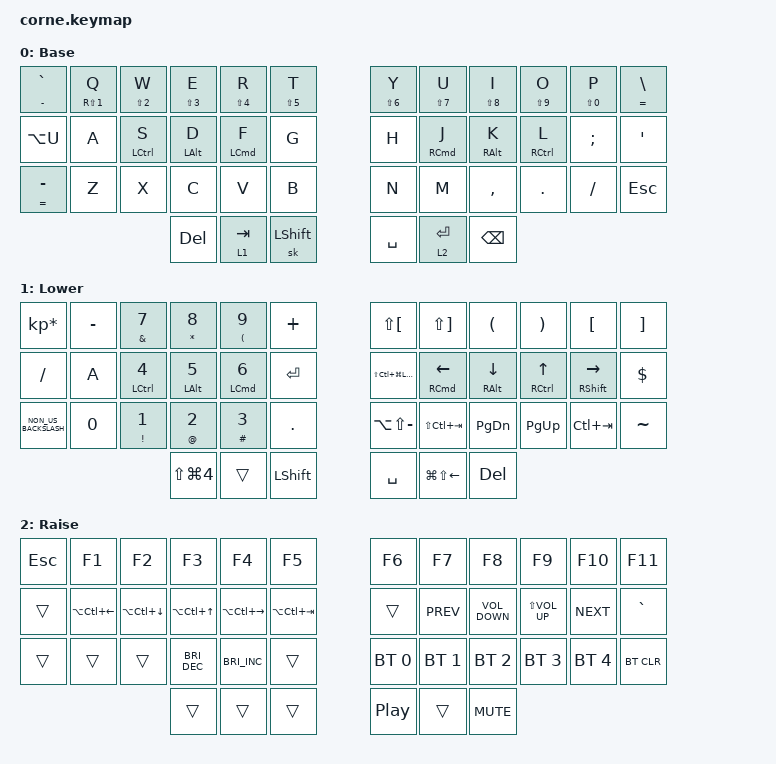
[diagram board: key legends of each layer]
/*
 * Copyright (c) 2020 The ZMK Contributors
 *
 * SPDX-License-Identifier: MIT
 */

#include <behaviors.dtsi>
#include <dt-bindings/zmk/bt.h>
#include <dt-bindings/zmk/keys.h>

/ {
    behaviors {
        HMR: HMR {
            compatible = "zmk,behavior-hold-tap";
            label = "HMR";
            bindings = <&kp>, <&kp>;

            #binding-cells = <2>;
            tapping-term-ms = <200>;
            flavor = "tap-preferred";
        };

        HML: HML {
            compatible = "zmk,behavior-hold-tap";
            label = "HML";
            bindings = <&kp>, <&kp>;

            #binding-cells = <2>;
            tapping-term-ms = <200>;
            flavor = "tap-preferred";
        };

        numRow: numRow {
            compatible = "zmk,behavior-hold-tap";
            label = "NUMROW";
            bindings = <&kp>, <&kp>;

            #binding-cells = <2>;
            tapping-term-ms = <320>;
            flavor = "tap-preferred";
            hold-trigger-on-release;
            hold-trigger-key-positions = <36 37 38 6 7 8 9 10 11 18 19 20 21 22 23 30 31 32 33 34 35 39 40 41 0 1 2 3 4 5 12 13 14 15 16 17 24 25 26 27 28 29>;
        };

        HR_Shift: HR_Shift {
            compatible = "zmk,behavior-hold-tap";
            label = "HR_SHIFT";
            bindings = <&kp>, <&kp>;

            #binding-cells = <2>;
            tapping-term-ms = <200>;
            flavor = "hold-preferred";
            hold-trigger-key-positions = <36 37 38 6 7 8 9 10 11 18 19 20 21 22 23 30 31 32 33 34 35 39 40 41 0 1 2 3 4 5 12 13 14 15 16 17 24 25 26 27 28 29>;
        };
    };

    keymap {
        compatible = "zmk,keymap";

        default_layer {
            // -----------------------------------------------------------------------------------------
            // |  TAB |  Q  |  W  |  E  |  R  |  T  |   |  Y  |  U   |  I  |  O  |  P  | BKSP |
            // | CTRL |  A  |  S  |  D  |  F  |  G  |   |  H  |  J   |  K  |  L  |  ;  |  '   |
            // | SHFT |  Z  |  X  |  C  |  V  |  B  |   |  N  |  M   |  ,  |  .  |  /  | ESC  |
            //                    | GUI | LWR | SPC |   | ENT | RSE  | ALT |

            display-name = "Base";
            bindings = <
&numRow MINUS GRAVE  &numRow RS(NUMBER_1) Q  &numRow LS(NUMBER_2) W  &numRow LS(NUMBER_3) E  &numRow LS(NUMBER_4) R  &numRow LS(N5) T    &numRow LS(NUMBER_6) Y  &numRow LS(N7) U      &numRow LS(N8) I  &numRow LS(N9) O      &numRow LS(N0) P  &numRow EQUAL BACKSLASH
&kp LA(U)            &kp A                   &HML LEFT_CONTROL S     &HML LEFT_ALT D         &HML LEFT_COMMAND F     &kp G               &kp H                   &HMR RIGHT_COMMAND J  &HMR RIGHT_ALT K  &HMR RIGHT_CONTROL L  &kp SEMICOLON     &kp SQT
&HML EQUAL MINUS     &kp Z                   &kp X                   &kp C                   &kp V                   &kp B               &kp N                   &kp M                 &kp COMMA         &kp DOT               &kp FSLH          &kp ESCAPE
                                                                     &kp DEL                 &lt 1 TAB               &sk LEFT_SHIFT      &kp SPACE               &lt 2 RETURN          &kp BACKSPACE
            >;
        };

        lower_layer {
            // -----------------------------------------------------------------------------------------
            // |  TAB |  1  |  2  |  3  |  4  |  5  |   |  6  |  7  |  8  |  9  |  0  | BKSP |
            // | BTCLR| BT1 | BT2 | BT3 | BT4 | BT5 |   | LFT | DWN |  UP | RGT |     |      |
            // | SHFT |     |     |     |     |     |   |     |     |     |     |     |      |
            //                    | GUI |     | SPC |   | ENT |     | ALT |

            display-name = "Lower";
            bindings = <
&kp KP_MULTIPLY       &kp MINUS  &mt AMPERSAND N7            &mt ASTERISK N8       &mt LEFT_PARENTHESIS N9     &kp PLUS          &kp LS(LEFT_BRACKET)      &kp LS(RIGHT_BRACKET)    &kp LEFT_PARENTHESIS  &kp RIGHT_PARENTHESIS        &kp LEFT_BRACKET        &kp RIGHT_BRACKET
&kp SLASH             &kp A      &HML LEFT_CONTROL NUMBER_4  &HML LEFT_ALT N5      &HML LEFT_COMMAND NUMBER_6  &kp ENTER         &kp LS(LC(LG(LEFT_ALT)))  &HMR RIGHT_COMMAND LEFT  &HMR RIGHT_ALT DOWN   &HMR RIGHT_CONTROL UP_ARROW  &HMR RIGHT_SHIFT RIGHT  &kp DOLLAR
&kp NON_US_BACKSLASH  &kp N0     &mt EXCLAMATION NUMBER_1    &mt AT_SIGN NUMBER_2  &mt HASH NUMBER_3           &kp PERIOD        &kp LA(LS(MINUS))         &kp LS(LC(TAB))          &kp PAGE_DOWN         &kp PG_UP                    &kp LC(TAB)             &kp TILDE
                                                             &kp LS(LG(NUMBER_4))  &trans                      &kp LEFT_SHIFT    &kp SPACE                 &kp LG(LS(LEFT))         &kp DELETE
            >;
        };

        raise_layer {
            // -----------------------------------------------------------------------------------------
            // |  TAB |  !  |  @  |  #  |  $  |  %  |   |  ^  |  &  |  *  |  (  |  )  | BKSP |
            // | CTRL |     |     |     |     |     |   |  -  |  =  |  [  |  ]  |  \  |  `   |
            // | SHFT |     |     |     |     |     |   |  _  |  +  |  {  |  }  | "|" |  ~   |
            //                    | GUI |     | SPC |   | ENT |     | ALT |

            display-name = "Raise";
            bindings = <
&kp ESC  &kp F1            &kp F2            &kp F3                &kp F4                &kp F5             &kp F6            &kp F7        &kp F8             &kp F9            &kp F10       &kp F11
&trans   &kp LA(LC(LEFT))  &kp LA(LC(DOWN))  &kp LA(LC(UP_ARROW))  &kp LA(LC(RIGHT))     &kp LA(LC(TAB))    &trans            &kp C_PREV    &kp K_VOLUME_DOWN  &kp LS(K_VOL_UP)  &kp C_NEXT    &kp GRAVE
&trans   &trans            &trans            &kp C_BRIGHTNESS_DEC  &kp C_BRIGHTNESS_INC  &trans             &bt BT_SEL 0      &bt BT_SEL 1  &bt BT_SEL 2       &bt BT_SEL 3      &bt BT_SEL 4  &bt BT_CLR
                                             &trans                &trans                &trans             &kp C_PLAY_PAUSE  &trans        &kp C_MUTE
            >;
        };
    };
};
